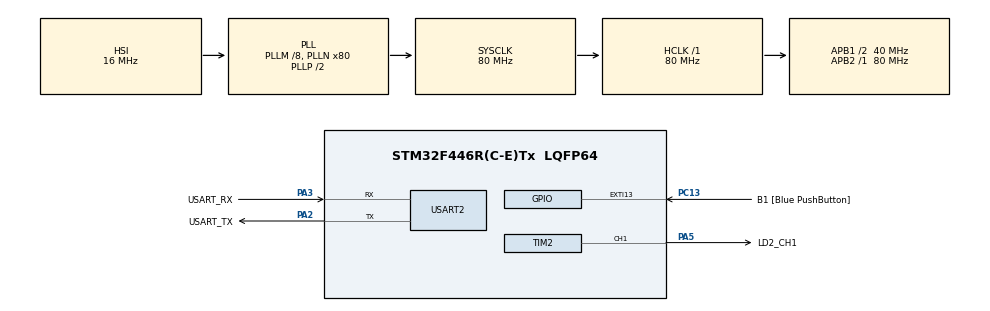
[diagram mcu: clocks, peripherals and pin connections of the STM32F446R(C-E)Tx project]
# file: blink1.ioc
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FREERTOS.Queues01=eventQueue,8,sButtonEvent,0,Dynamic,NULL,NULL
FREERTOS.Tasks01=buttonTask,24,128,startButtonTask,Default,NULL,Dynamic,NULL,NULL
FREERTOS.Timers01=uartTimer,uartTimerCb,osTimerPeriodic,Default,NULL,Dynamic,NULL
FREERTOS.configUSE_NEWLIB_REENTRANT=1
Mcu.Family=STM32F4
Mcu.Name=STM32F446R(C-E)Tx
Mcu.Package=LQFP64
NVIC.EXTI15_10_IRQn=true\:5\:0\:false\:false\:true\:true\:true\:true\:true
NVIC.PriorityGroup=NVIC_PRIORITYGROUP_4
NVIC.TIM1_UP_TIM10_IRQn=true\:15\:0\:false\:false\:true\:false\:false\:true\:true
NVIC.TIM2_IRQn=true\:5\:0\:false\:false\:true\:true\:true\:true\:true
NVIC.TIM3_IRQn=true\:5\:0\:false\:false\:true\:true\:true\:true\:true
NVIC.TIM4_IRQn=true\:5\:0\:false\:false\:true\:true\:true\:true\:true
NVIC.TimeBase=TIM1_UP_TIM10_IRQn
NVIC.TimeBaseIP=TIM1
PA13.GPIO_Label=TMS
PA13.Mode=Serial_Wire
PA13.Signal=SYS_JTMS-SWDIO
PA14.GPIO_Label=TCK
PA14.Mode=Serial_Wire
PA14.Signal=SYS_JTCK-SWCLK
PA2.GPIO_Label=USART_TX
PA2.Mode=Asynchronous
PA2.Signal=USART2_TX
PA3.GPIO_Label=USART_RX
PA3.Mode=Asynchronous
PA3.Signal=USART2_RX
PA5.GPIO_Label=LD2_CH1
PA5.Signal=S_TIM2_CH1_ETR
PB3.GPIO_Label=SWO
PB3.Signal=SYS_JTDO-SWO
PC13.GPIO_Label=B1 [Blue PushButton]
PC13.GPIO_ModeDefaultEXTI=GPIO_MODE_IT_RISING_FALLING
PC13.GPIO_PuPd=GPIO_PULLUP
PC13.Signal=GPXTI13
PC14-OSC32_IN.Mode=LSE-External-Oscillator
PC14-OSC32_IN.Signal=RCC_OSC32_IN
PC15-OSC32_OUT.Mode=LSE-External-Oscillator
PC15-OSC32_OUT.Signal=RCC_OSC32_OUT
PH0-OSC_IN.Mode=HSE-External-Oscillator
PH0-OSC_IN.Signal=RCC_OSC_IN
PH1-OSC_OUT.Mode=HSE-External-Oscillator
PH1-OSC_OUT.Signal=RCC_OSC_OUT
ProjectManager.HeapSize=0x200
ProjectManager.StackSize=0x400
ProjectManager.TargetToolchain=STM32CubeIDE
RCC.48MHZClocksFreq_Value=84000000
RCC.AHBFreq_Value=80000000
RCC.APB1CLKDivider=RCC_HCLK_DIV2
RCC.APB1Freq_Value=40000000
RCC.APB1TimFreq_Value=80000000
RCC.APB2Freq_Value=80000000
RCC.APB2TimFreq_Value=80000000
RCC.CortexFreq_Value=80000000
RCC.FLatency-AdvancedSettings=FLASH_LATENCY_2
RCC.HCLKFreq_Value=80000000
RCC.HSE_VALUE=8000000
RCC.HSI_VALUE=16000000
RCC.PLLM=8
RCC.PLLN=80
RCC.SYSCLKFreq_VALUE=80000000
RCC.SYSCLKSource=RCC_SYSCLKSOURCE_PLLCLK
RCC.USBFreq_Value=80000000
RCC.VCOOutputFreq_Value=160000000
SH.S_TIM2_CH1_ETR.0=TIM2_CH1,PWM Generation1 CH1
TIM2.AutoReloadPreload=TIM_AUTORELOAD_PRELOAD_DISABLE
TIM2.Channel-PWM\ Generation1\ CH1=TIM_CHANNEL_1
TIM2.Period=1000
TIM2.Prescaler=79
TIM3.Period=20000
TIM3.Prescaler=7999
TIM4.Prescaler=7
USART2.VirtualMode=VM_ASYNC
VP_FREERTOS_VS_CMSIS_V2.Mode=CMSIS_V2
VP_SYS_VS_tim1.Mode=TIM1
VP_TIM2_VS_ClockSourceINT.Mode=Internal
VP_TIM3_VS_ClockSourceINT.Mode=Internal
VP_TIM4_VS_ClockSourceINT.Mode=Internal
board=NUCLEO-F446RE

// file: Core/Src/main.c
/* USER CODE BEGIN Header */
/**
  ******************************************************************************
  * @file           : main.c
  * @brief          : Main program body
  ******************************************************************************
  * @attention
  *
  * Copyright (c) 2023 STMicroelectronics.
  * All rights reserved.
  *
  * This software is licensed under terms that can be found in the LICENSE file
  * in the root directory of this software component.
  * If no LICENSE file comes with this software, it is provided AS-IS.
  *
  ******************************************************************************
  */
/* USER CODE END Header */
#include "main.h"
#include "cmsis_os.h"

/* USER CODE BEGIN Includes */

#include <string.h>
#include <stdio.h>
#include "basictypes.h"
#include "buttontype.h"
#include "ledcontrol.h"

/* USER CODE END Includes */

TIM_HandleTypeDef htim2;
TIM_HandleTypeDef htim3;
TIM_HandleTypeDef htim4;

UART_HandleTypeDef huart2;

/* Definitions for buttonTask */
osThreadId_t buttonTaskHandle;
const osThreadAttr_t buttonTask_attributes = {
  .name = "buttonTask",
  .stack_size = 128 * 4,
  .priority = (osPriority_t) osPriorityNormal,
};
/* Definitions for eventQueue */
osMessageQueueId_t eventQueueHandle;
const osMessageQueueAttr_t eventQueue_attributes = {
  .name = "eventQueue"
};
/* Definitions for uartTimer */
osTimerId_t uartTimerHandle;
const osTimerAttr_t uartTimer_attributes = {
  .name = "uartTimer"
};
/* USER CODE BEGIN PV */

volatile sButtonType button_info = {};
volatile bool button_pressed = false;

volatile int16_t ledDuty = 1000;
volatile int16_t inc = -20;
volatile bool fadeInProgress = false;

/* USER CODE END PV */

void SystemClock_Config(void);
static void MX_GPIO_Init(void);
static void MX_USART2_UART_Init(void);
static void MX_TIM2_Init(void);
static void MX_TIM3_Init(void);
static void MX_TIM4_Init(void);
void startButtonTask(void *argument);
void uartTimerCb(void *argument);

/* USER CODE BEGIN PFP */
#ifdef __GNUC__
#define PUTCHAR_PROTOTYPE int __io_putchar(int ch)
#else
#define PUTCHAR_PROTOTYPE int fputc(int ch, FILE *f)
#endif

PUTCHAR_PROTOTYPE
{
  HAL_UART_Transmit(&huart2, (uint8_t *)&ch, 1, HAL_MAX_DELAY);
  return ch;
}
/* USER CODE END PFP */

int main(void)
{

  /* MCU Configuration--------------------------------------------------------*/

  /* Reset of all peripherals, Initializes the Flash interface and the Systick. */
  HAL_Init();

  /* Configure the system clock */
  SystemClock_Config();

  /* Initialize all configured peripherals */
  MX_GPIO_Init();
  MX_USART2_UART_Init();
  MX_TIM2_Init();
  MX_TIM3_Init();
  MX_TIM4_Init();
  /* USER CODE BEGIN 2 */
  // Start timer
  HAL_TIM_Base_Start(&htim2);
  HAL_TIM_PWM_Init(&htim2);
  HAL_TIM_PWM_Start(&htim2, TIM_CHANNEL_1);
  /* USER CODE END 2 */

  /* Init scheduler */
  osKernelInitialize();

  /* Create the timer(s) */
  /* creation of uartTimer */
  uartTimerHandle = osTimerNew(uartTimerCb, osTimerPeriodic, NULL, &uartTimer_attributes);

  /* USER CODE BEGIN RTOS_TIMERS */
  /* start timers, add new ones, ... */
  osTimerStart(uartTimerHandle, 1000);
  /* USER CODE END RTOS_TIMERS */

  /* Create the queue(s) */
  /* creation of eventQueue */
  eventQueueHandle = osMessageQueueNew (8, sizeof(sButtonEvent), &eventQueue_attributes);

  /* Create the thread(s) */
  /* creation of buttonTask */
  buttonTaskHandle = osThreadNew(startButtonTask, NULL, &buttonTask_attributes);

  /* Start scheduler */
  osKernelStart();
  /* We should never get here as control is now taken by the scheduler */
  /* Infinite loop */
  while (1)
  {

  }
}

void SystemClock_Config(void)
{
  RCC_OscInitTypeDef RCC_OscInitStruct = {0};
  RCC_ClkInitTypeDef RCC_ClkInitStruct = {0};

  /** Configure the main internal regulator output voltage
  */
  __HAL_RCC_PWR_CLK_ENABLE();
  __HAL_PWR_VOLTAGESCALING_CONFIG(PWR_REGULATOR_VOLTAGE_SCALE3);

  /** Initializes the RCC Oscillators according to the specified parameters
  * in the RCC_OscInitTypeDef structure.
  */
  RCC_OscInitStruct.OscillatorType = RCC_OSCILLATORTYPE_HSI;
  RCC_OscInitStruct.HSIState = RCC_HSI_ON;
  RCC_OscInitStruct.HSICalibrationValue = RCC_HSICALIBRATION_DEFAULT;
  RCC_OscInitStruct.PLL.PLLState = RCC_PLL_ON;
  RCC_OscInitStruct.PLL.PLLSource = RCC_PLLSOURCE_HSI;
  RCC_OscInitStruct.PLL.PLLM = 8;
  RCC_OscInitStruct.PLL.PLLN = 80;
  RCC_OscInitStruct.PLL.PLLP = RCC_PLLP_DIV2;
  RCC_OscInitStruct.PLL.PLLQ = 2;
  RCC_OscInitStruct.PLL.PLLR = 2;
  if (HAL_RCC_OscConfig(&RCC_OscInitStruct) != HAL_OK)
  {
    Error_Handler();
  }

  /** Initializes the CPU, AHB and APB buses clocks
  */
  RCC_ClkInitStruct.ClockType = RCC_CLOCKTYPE_HCLK|RCC_CLOCKTYPE_SYSCLK
                              |RCC_CLOCKTYPE_PCLK1|RCC_CLOCKTYPE_PCLK2;
  RCC_ClkInitStruct.SYSCLKSource = RCC_SYSCLKSOURCE_PLLCLK;
  RCC_ClkInitStruct.AHBCLKDivider = RCC_SYSCLK_DIV1;
  RCC_ClkInitStruct.APB1CLKDivider = RCC_HCLK_DIV2;
  RCC_ClkInitStruct.APB2CLKDivider = RCC_HCLK_DIV1;

  if (HAL_RCC_ClockConfig(&RCC_ClkInitStruct, FLASH_LATENCY_2) != HAL_OK)
  {
    Error_Handler();
  }
}

static void MX_TIM2_Init(void)
{

  TIM_ClockConfigTypeDef sClockSourceConfig = {0};
  TIM_MasterConfigTypeDef sMasterConfig = {0};
  TIM_OC_InitTypeDef sConfigOC = {0};

  htim2.Instance = TIM2;
  htim2.Init.Prescaler = 79;
  htim2.Init.CounterMode = TIM_COUNTERMODE_UP;
  htim2.Init.Period = 1000;
  htim2.Init.ClockDivision = TIM_CLOCKDIVISION_DIV1;
  htim2.Init.AutoReloadPreload = TIM_AUTORELOAD_PRELOAD_DISABLE;
  if (HAL_TIM_Base_Init(&htim2) != HAL_OK)
  {
    Error_Handler();
  }
  sClockSourceConfig.ClockSource = TIM_CLOCKSOURCE_INTERNAL;
  if (HAL_TIM_ConfigClockSource(&htim2, &sClockSourceConfig) != HAL_OK)
  {
    Error_Handler();
  }
  if (HAL_TIM_PWM_Init(&htim2) != HAL_OK)
  {
    Error_Handler();
  }
  sMasterConfig.MasterOutputTrigger = TIM_TRGO_RESET;
  sMasterConfig.MasterSlaveMode = TIM_MASTERSLAVEMODE_DISABLE;
  if (HAL_TIMEx_MasterConfigSynchronization(&htim2, &sMasterConfig) != HAL_OK)
  {
    Error_Handler();
  }
  sConfigOC.OCMode = TIM_OCMODE_PWM1;
  sConfigOC.Pulse = 0;
  sConfigOC.OCPolarity = TIM_OCPOLARITY_HIGH;
  sConfigOC.OCFastMode = TIM_OCFAST_DISABLE;
  if (HAL_TIM_PWM_ConfigChannel(&htim2, &sConfigOC, TIM_CHANNEL_1) != HAL_OK)
  {
    Error_Handler();
  }
  HAL_TIM_MspPostInit(&htim2);

}

static void MX_TIM3_Init(void)
{

  TIM_ClockConfigTypeDef sClockSourceConfig = {0};
  TIM_MasterConfigTypeDef sMasterConfig = {0};

  htim3.Instance = TIM3;
  htim3.Init.Prescaler = 7999;
  htim3.Init.CounterMode = TIM_COUNTERMODE_UP;
  htim3.Init.Period = 20000;
  htim3.Init.ClockDivision = TIM_CLOCKDIVISION_DIV1;
  htim3.Init.AutoReloadPreload = TIM_AUTORELOAD_PRELOAD_DISABLE;
  if (HAL_TIM_Base_Init(&htim3) != HAL_OK)
  {
    Error_Handler();
  }
  sClockSourceConfig.ClockSource = TIM_CLOCKSOURCE_INTERNAL;
  if (HAL_TIM_ConfigClockSource(&htim3, &sClockSourceConfig) != HAL_OK)
  {
    Error_Handler();
  }
  sMasterConfig.MasterOutputTrigger = TIM_TRGO_RESET;
  sMasterConfig.MasterSlaveMode = TIM_MASTERSLAVEMODE_DISABLE;
  if (HAL_TIMEx_MasterConfigSynchronization(&htim3, &sMasterConfig) != HAL_OK)
  {
    Error_Handler();
  }

}

static void MX_TIM4_Init(void)
{

  TIM_ClockConfigTypeDef sClockSourceConfig = {0};
  TIM_MasterConfigTypeDef sMasterConfig = {0};

  htim4.Instance = TIM4;
  htim4.Init.Prescaler = 7;
  htim4.Init.CounterMode = TIM_COUNTERMODE_UP;
  htim4.Init.Period = 65535;
  htim4.Init.ClockDivision = TIM_CLOCKDIVISION_DIV1;
  htim4.Init.AutoReloadPreload = TIM_AUTORELOAD_PRELOAD_DISABLE;
  if (HAL_TIM_Base_Init(&htim4) != HAL_OK)
  {
    Error_Handler();
  }
  sClockSourceConfig.ClockSource = TIM_CLOCKSOURCE_INTERNAL;
  if (HAL_TIM_ConfigClockSource(&htim4, &sClockSourceConfig) != HAL_OK)
  {
    Error_Handler();
  }
  sMasterConfig.MasterOutputTrigger = TIM_TRGO_RESET;
  sMasterConfig.MasterSlaveMode = TIM_MASTERSLAVEMODE_DISABLE;
  if (HAL_TIMEx_MasterConfigSynchronization(&htim4, &sMasterConfig) != HAL_OK)
  {
    Error_Handler();
  }

}

static void MX_USART2_UART_Init(void)
{

  huart2.Instance = USART2;
  huart2.Init.BaudRate = 115200;
  huart2.Init.WordLength = UART_WORDLENGTH_8B;
  huart2.Init.StopBits = UART_STOPBITS_1;
  huart2.Init.Parity = UART_PARITY_NONE;
  huart2.Init.Mode = UART_MODE_TX_RX;
  huart2.Init.HwFlowCtl = UART_HWCONTROL_NONE;
  huart2.Init.OverSampling = UART_OVERSAMPLING_16;
  if (HAL_UART_Init(&huart2) != HAL_OK)
  {
    Error_Handler();
  }

}

static void MX_GPIO_Init(void)
{
  GPIO_InitTypeDef GPIO_InitStruct = {0};

  /* GPIO Ports Clock Enable */
  __HAL_RCC_GPIOC_CLK_ENABLE();
  __HAL_RCC_GPIOH_CLK_ENABLE();
  __HAL_RCC_GPIOA_CLK_ENABLE();
  __HAL_RCC_GPIOB_CLK_ENABLE();

  /*Configure GPIO pin : B1_Pin */
  GPIO_InitStruct.Pin = B1_Pin;
  GPIO_InitStruct.Mode = GPIO_MODE_IT_RISING_FALLING;
  GPIO_InitStruct.Pull = GPIO_PULLUP;
  HAL_GPIO_Init(B1_GPIO_Port, &GPIO_InitStruct);

  /* EXTI interrupt init*/
  HAL_NVIC_SetPriority(EXTI15_10_IRQn, 5, 0);
  HAL_NVIC_EnableIRQ(EXTI15_10_IRQn);

}

/* USER CODE BEGIN 4 */
void HAL_GPIO_EXTI_Callback(uint16_t GPIO_Pin)
{
	if(GPIO_Pin == B1_Pin) // If The INT Source Is EXTI Line9 (A9 Pin)
	{
		if ((button_info.button_pressed == true) && ((B1_GPIO_Port->IDR & B1_Pin) == B1_Pin)) {
			uint32_t button_tick = HAL_GetTick();

			button_info.button_pressed = false;
			button_info.button_press_ended = button_tick;
			// Send message
			sButtonEvent event = {
					.button_event_msg = BUTTON_RELEASED,
					.button_pin = GPIO_Pin,
					.button_event_ts = button_tick,
			};
			osMessageQueuePut(eventQueueHandle, &event, 0, 0);

			HAL_TIM_Base_Stop_IT(&htim3);
			htim3.Instance->CNT = 0;
		} else if ((button_info.button_pressed == false) && ((B1_GPIO_Port->IDR & B1_Pin) == 0)) {
			uint32_t button_tick = HAL_GetTick();

			button_info.button_pressed = true;
			button_info.button_press_started = button_tick;
			// Send message
			sButtonEvent event = {
					.button_event_msg = BUTTON_PRESSED,
					.button_pin = GPIO_Pin,
					.button_event_ts = button_tick,
			};
			osMessageQueuePut(eventQueueHandle, &event, 0, 0);

			// Start long press timer
//			htim2.Instance->CNT = 0;
			__HAL_TIM_CLEAR_FLAG(&htim3, TIM_SR_UIF);
			HAL_TIM_Base_Start_IT(&htim3);
		}

//		HAL_GPIO_TogglePin(LD2_GPIO_Port, LD2_Pin); // Toggle The Output (LED) Pin
	}
}
/* USER CODE END 4 */

void startButtonTask(void *argument)
{
  /* USER CODE BEGIN 5 */
  /* Infinite loop */
	bool ledState =false;
  for(;;)
  {
	  sButtonEvent button_event = {};
	  uint8_t msg_prio = 0;
	  if (osMessageQueueGet(eventQueueHandle, &button_event, &msg_prio, osWaitForever) == osOK) {
		  switch (button_event.button_event_msg) {
		  case BUTTON_PRESSED:
			  printf("Button pressed!\n");
			  if (!ledState) {
//				  HAL_GPIO_WritePin(LD2_GPIO_Port, LD2_Pin, 1);
				  ledFullOn();
				  ledState = true;
			  }
			  break;
		  case BUTTON_RELEASED:
			  printf("Button released!\n");
			  break;
		  case BUTTON_LONGPRESSED:
			  printf("Button long-pressed!\n");
			  if (ledState) {
//				  HAL_GPIO_WritePin(LD2_GPIO_Port, LD2_Pin, 0);
//				  ledFullOff();
				  beginLedFadeOut();
				  ledState = false;
			  }
			  break;
		  default:
			  break;
		  }
	  } else {
		  printf("ERROR: Unable to get a message from message queue");
	  }
  }
  /* USER CODE END 5 */
}

/* uartTimerCb function */
void uartTimerCb(void *argument)
{
  /* USER CODE BEGIN uartTimerCb */
	uint16_t timer_val = __HAL_TIM_GET_COUNTER(&htim3);
	printf("tim2 count = %d Button pressed = %d, press started = %ld, press ended = %ld to = %d\n",
			timer_val, button_info.button_pressed, button_info.button_press_started,
			button_info.button_press_ended, button_info.button_timeout);
  /* USER CODE END uartTimerCb */
}

void HAL_TIM_PeriodElapsedCallback(TIM_HandleTypeDef *htim)
{
  if (htim->Instance == TIM1) {
    HAL_IncTick();
  }
  /* USER CODE BEGIN Callback 1 */
  if (htim == &htim3) {
	if (button_info.button_pressed) {
		// Send message
		sButtonEvent event = {
				.button_event_msg = BUTTON_LONGPRESSED,
				.button_pin = B1_Pin,
				.button_event_ts = HAL_GetTick(),
		};

		button_info.button_timeout++;
		HAL_TIM_Base_Stop_IT(&htim3);

		osMessageQueuePut(eventQueueHandle, &event, 0, 0);
	}
  }

  if (htim == &htim4)
  {
	  htim2.Instance->CCR1 = ledDuty;
	  ledDuty += inc;

	  if ((ledDuty <= 0) || (ledDuty >= 1000)) {
		  if (ledDuty <= 0) {
			  ledFullOff();
		  } else {
			  ledFullOn();
		  }
		  fadeInProgress = false;
		  HAL_TIM_Base_Stop(&htim4);
	  }
  }
  /* USER CODE END Callback 1 */
}

void Error_Handler(void)
{
  __disable_irq();
  while (1)
  {
  }
}
